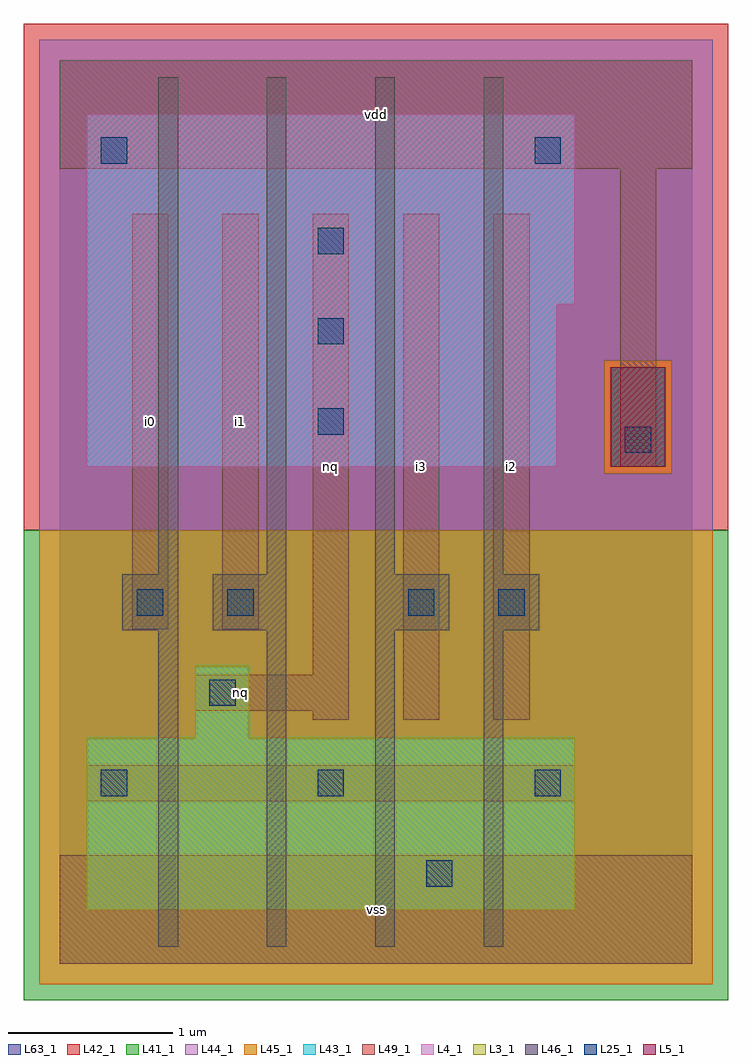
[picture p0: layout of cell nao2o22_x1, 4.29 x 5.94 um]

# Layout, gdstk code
import gdstk
lib = gdstk.Library(unit=1e-6, precision=1e-09)
def R(c, l, rs):  # rectangles x0, y0, x1, y1
    for r in rs: c.add(gdstk.rectangle(r[:2], r[2:], *l))
def A(c, l, x, y, w, h, nx, ny, dx, dy):  # array of equal rectangles
    R(c, l, [(x+i*dx, y+j*dy, x+i*dx+w, y+j*dy+h) for i in range(nx) for j in range(ny)])
L3_1 = (3, 1)
L4_1 = (4, 1)
L5_1 = (5, 1)
L25_1 = (25, 1)
L41_1 = (41, 1)
L42_1 = (42, 1)
L43_1 = (43, 1)
L44_1 = (44, 1)
L45_1 = (45, 1)
L46_1 = (46, 1)
L49_1 = (49, 1)
L63_1 = (63, 1)

nao2o22_x1 = lib.new_cell('nao2o22_x1')
R(nao2o22_x1, L3_1, [(0.165,0.33,3.135,1.375), (0.825,1.375,1.155,1.815)])
R(nao2o22_x1, L4_1, [(0.165,3.025,3.025,4.015), (0.165,4.015,3.135,5.17)])
R(nao2o22_x1, L5_1, [(3.355,3.025,3.685,3.63)])
A(nao2o22_x1, L25_1, 0.25, 1.02, 0.16, 0.16, 3, 1, 1.32, 0)
A(nao2o22_x1, L25_1, 1.57, 3.22, 0.16, 0.16, 1, 3, 0, 0.55)
R(nao2o22_x1, L25_1, [(2.23,0.47,2.39,0.63), (0.91,1.57,1.07,1.73), (0.47,2.12,0.63,2.28), (1.02,2.12,1.18,2.28), (2.12,2.12,2.28,2.28), (2.67,2.12,2.83,2.28), (3.44,3.11,3.6,3.27), (0.25,4.87,0.41,5.03), (2.89,4.87,3.05,5.03)])
R(nao2o22_x1, L41_1, [(-0.22,-0.22,4.07,2.64)])
R(nao2o22_x1, L42_1, [(-0.22,2.64,4.07,5.72)])
R(nao2o22_x1, L43_1, [(0.165,0.33,3.135,1.375), (0.825,1.375,1.155,1.815), (0.165,3.025,3.025,4.015), (3.355,3.025,3.685,3.63), (0.165,4.015,3.135,5.17)])
R(nao2o22_x1, L44_1, [(-0.125,2.64,3.975,2.985), (-0.125,2.985,3.315,3.67), (3.725,2.985,3.975,3.67), (-0.125,3.67,3.975,5.625)])
R(nao2o22_x1, L45_1, [(-0.125,-0.125,3.975,2.64), (3.315,2.985,3.725,3.67)])
A(nao2o22_x1, L46_1, 0.6, 0.105, 0.12, 1.925, 4, 1, 0.66, 0)
A(nao2o22_x1, L46_1, 0.6, 2.37, 0.12, 3.025, 4, 1, 0.66, 0)
R(nao2o22_x1, L46_1, [(0.38,2.03,0.72,2.37), (0.93,2.03,1.38,2.37), (1.92,2.03,2.37,2.37), (2.58,2.03,2.92,2.37)])
R(nao2o22_x1, L49_1, [(0,0,3.85,0.66), (0.165,0.99,3.135,1.21), (1.54,1.485,1.76,1.54), (2.09,1.485,2.31,4.565), (2.64,1.485,2.86,4.565), (0.825,1.54,1.76,1.76), (1.54,1.76,1.76,4.565), (0.44,2.035,0.66,4.565), (0.99,2.035,1.21,4.565), (3.41,3.025,3.63,4.84), (0,4.84,3.85,5.5)])
R(nao2o22_x1, L63_1, [(0,0,3.85,5.5)])
nao2o22_x1.add(gdstk.Label('i0', (0.55,3.3), layer=49, texttype=1))
nao2o22_x1.add(gdstk.Label('nq', (1.1,1.65), layer=49, texttype=1))
nao2o22_x1.add(gdstk.Label('i1', (1.1,3.3), layer=49, texttype=1))
nao2o22_x1.add(gdstk.Label('nq', (1.65,3.025), layer=49, texttype=1))
nao2o22_x1.add(gdstk.Label('vss', (1.925,0.33), layer=49, texttype=1))
nao2o22_x1.add(gdstk.Label('i3', (2.2,3.025), layer=49, texttype=1))
nao2o22_x1.add(gdstk.Label('i2', (2.75,3.025), layer=49, texttype=1))
nao2o22_x1.add(gdstk.Label('vdd', (1.925,5.17), layer=49, texttype=1))

lib.write_gds('nao2o22_x1.gds')
